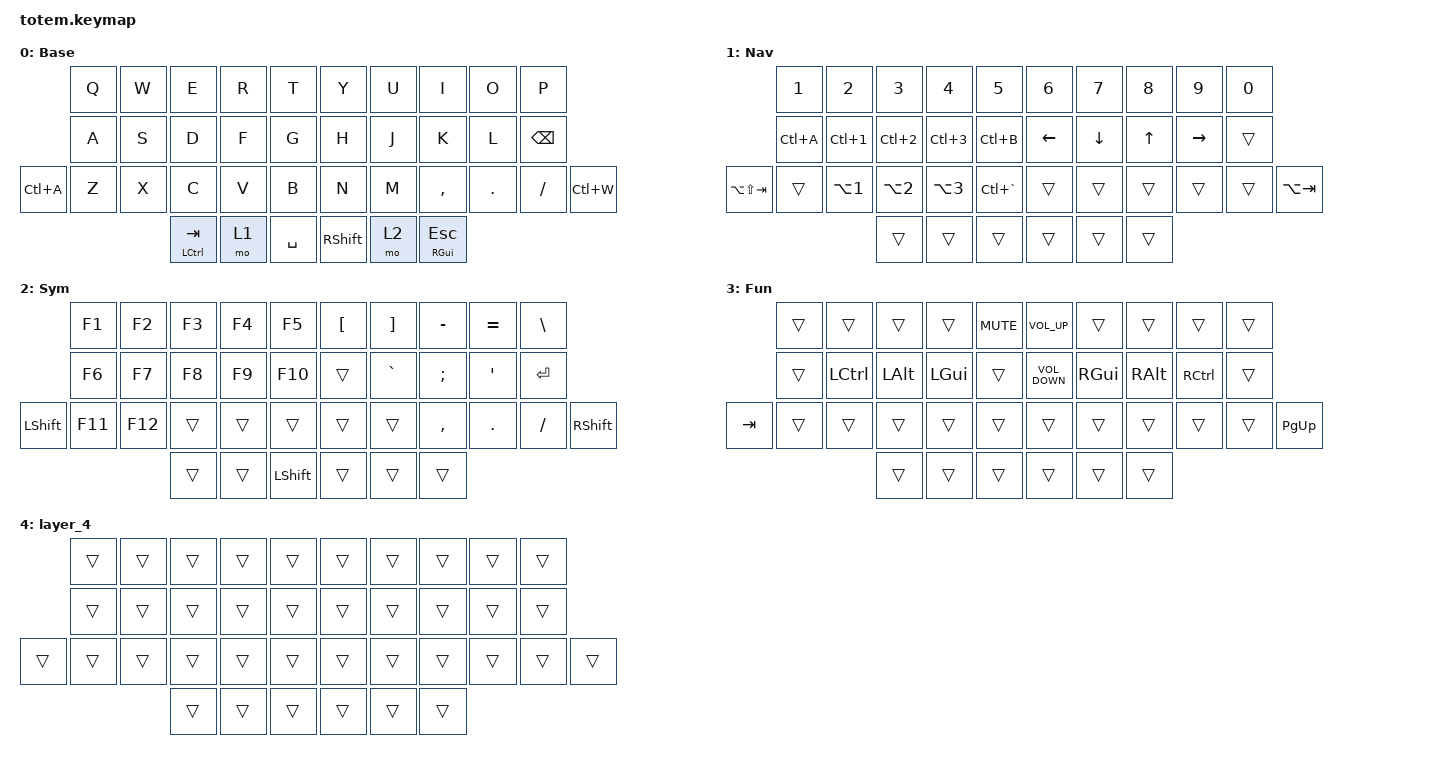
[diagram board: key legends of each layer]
//
//                                                        ▀▀▀▀▀     ▀▀▀▀▀          ▀▀█▀▀
//                                                        ▄▀▀▀▄  ▄  ▄▀▀▀▄  ▄  ▄▀▀▀▄  █  ▄▀▀▀▄
//                                                        █   █  █  █   █  █  █   █  █  █   █
//                                                         ▀▀▀   █   ▀▀▀   █   ▀▀▀   ▀   ▀▀▀
//                                                               █      ▄▄▄█▄▄▄    █   █  
//                                                               ▀      █  █  █     █▄█
//                                                             ▀▀▀▀▀    █  █  █      ▀
//                                                                      ▀  ▀  ▀
//
// ▄▄▄▄▄▄▄▄▄▄▄▄▄▄▄▄▄▄▄▄▄▄▄▄▄▄▄▄▄▄▄▄▄▄▄▄▄▄▄▄▄▄▄▄▄▄▄▄▄▄▄▄▄▄▄▄▄▄▄▄▄▄▄▄▄▄▄▄▄▄▄▄▄▄▄▄▄▄▄▄▄▄▄▄▄▄▄▄▄▄▄▄▄▄▄▄▄▄▄▄▄▄▄▄▄▄▄▄▄▄▄▄▄▄▄▄▄▄▄▄▄▄▄▄▄▄▄▄▄▄▄▄▄▄▄▄▄▄▄▄▄▄▄▄▄▄▄▄▄

#include <behaviors.dtsi>
#include <dt-bindings/zmk/keys.h>

#define Base        0
#define Num         1
#define Sym         2
#define Mac         3

&mt {
    quick-tap-ms = <100>;
    global-quick-tap;
    flavor = "tap-preferred";
    tapping-term-ms = <170>;
};

&lt {
    tapping-term-ms = <240>;
    flavor = "balanced";
    quick-tap-ms = <150>;
};

/ {
    conditional_layers {
        compatible = "zmk,conditional-layers";

        tri_layer {
            if-layers = <1 2>;
            then-layer = <3>;
        };
    };

    combos { compatible = "zmk,combos"; };

    keymap {
        compatible = "zmk,keymap";

        Base {
            display-name = "Base";
            bindings = <
           &kp Q  &kp W  &kp E          &kp R  &kp T        &kp Y       &kp U  &kp I         &kp O    &kp P
           &kp A  &kp S  &kp D          &kp F  &kp G        &kp H       &kp J  &kp K         &kp L    &kp BSPC
&kp LC(A)  &kp Z  &kp X  &kp C          &kp V  &kp B        &kp N       &kp M  &kp COMMA     &kp DOT  &kp SLASH  &kp LC(W)
                         &mt LCTRL TAB  &mo 1  &kp SPACE    &kp RSHIFT  &mo 2  &mt RGUI ESC
            >;
        };

        Num {
            display-name = "Nav";
            bindings = <
                 &kp N1     &kp N2      &kp N3      &kp N4      &kp N5           &kp N6    &kp N7    &kp N8  &kp N9     &kp N0
                 &kp LC(A)  &kp LC(N1)  &kp LC(N2)  &kp LC(N3)  &kp LC(B)        &kp LEFT  &kp DOWN  &kp UP  &kp RIGHT  &trans
&kp LA(LS(TAB))  &trans     &kp LA(N1)  &kp LA(N2)  &kp LA(N3)  &kp LC(GRAVE)    &trans    &trans    &trans  &trans     &trans  &kp LA(TAB)
                                        &trans      &trans      &trans           &trans    &trans    &trans
            >;
        };

        Sym {
            display-name = "Sym";
            bindings = <
            &kp F1   &kp F2   &kp F3  &kp F4  &kp F5        &kp LEFT_BRACKET  &kp RIGHT_BRACKET  &kp MINUS  &kp EQUAL  &kp BSLH
            &kp F6   &kp F7   &kp F8  &kp F9  &kp F10       &trans            &kp GRAVE          &kp SEMI   &kp SQT    &kp ENTER
&kp LSHIFT  &kp F11  &kp F12  &trans  &trans  &trans        &trans            &trans             &kp COMMA  &kp DOT    &kp SLASH  &kp RSHIFT
                              &trans  &trans  &kp LSHIFT    &trans            &trans             &trans
            >;
        };

        Mac {
            display-name = "Fun";
            bindings = <
         &trans  &trans     &trans    &trans    &kp K_MUTE    &kp K_VOL_UP       &trans    &trans    &trans     &trans
         &trans  &kp LCTRL  &kp LALT  &kp LGUI  &trans        &kp K_VOLUME_DOWN  &kp RGUI  &kp RALT  &kp RCTRL  &trans
&kp TAB  &trans  &trans     &trans    &trans    &trans        &trans             &trans    &trans    &trans     &trans  &kp PAGE_UP
                            &trans    &trans    &trans        &trans             &trans    &trans
            >;
        };

        layer_4 {
            bindings = <
        &trans  &trans  &trans  &trans  &trans    &trans  &trans  &trans  &trans  &trans
        &trans  &trans  &trans  &trans  &trans    &trans  &trans  &trans  &trans  &trans
&trans  &trans  &trans  &trans  &trans  &trans    &trans  &trans  &trans  &trans  &trans  &trans
                        &trans  &trans  &trans    &trans  &trans  &trans
            >;
        };
    };
};
